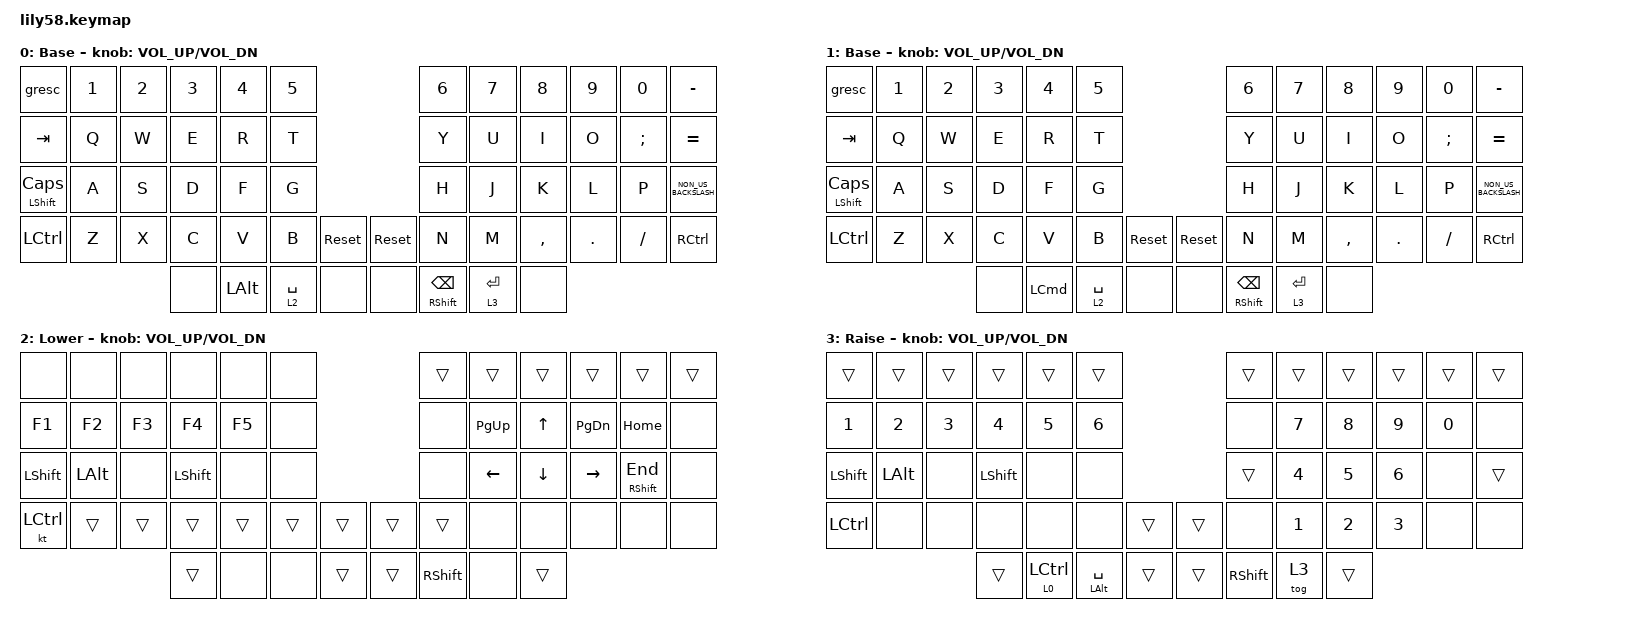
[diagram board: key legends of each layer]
/*
 * Copyright (c) 2020 The ZMK Contributors
 *
 * SPDX-License-Identifier: MIT
 */

#include <behaviors.dtsi>
#include <dt-bindings/zmk/keys.h>

/ {
    combos {
        compatible = "zmk,combos";

        Ko {
            bindings = <&kp CLCK>;
            key-positions = <27 28>;
            timeout-ms = <350>;
        };

        window {
            bindings = <&kp LEFT_WIN>;
            key-positions = <51 52>;
        };

        Enter {
            bindings = <&kp ENTER>;
            key-positions = <52 55>;
        };

        Backspace {
            bindings = <&kp DELETE>;
            key-positions = <21 22>;
        };

        Enter_Right {
            bindings = <&kp ENTER>;
            key-positions = <34 33>;
        };

        Esc {
            bindings = <&kp ESC>;
            key-positions = <13 14>;
        };

        TAB_Left {
            bindings = <&kp TAB>;
            key-positions = <25 26>;
        };

        AltF4 {
            bindings = <&none>;
            key-positions = <50 3>;
        };

        AltTap {
            bindings = <&none>;
            key-positions = <12 51>;
        };

        macWindow {
            bindings = <&tog 1>;
            key-positions = <10 11>;
        };
    };

    behaviors {
        HomeRow_mods: HomeRow_mods {
            compatible = "zmk,behavior-hold-tap";
            label = "HOMEROW_MODS";
            bindings = <&kp>, <&kp>;

            #binding-cells = <2>;
            tapping-term-ms = <200>;
            quick-tap-ms = <130>;
            flavor = "tap-preferred";
        };

        AltF4: AltF4 {
            compatible = "zmk,behavior-mod-morph";
            label = "ALTF4";
            bindings = <&kp R>, <&kp F4>;

            #binding-cells = <0>;
            mods = <(MOD_LALT)>;
            keep-mods = <(MOD_LALT)>;
        };
    };

    keymap {
        compatible = "zmk,keymap";

        BaseLayer {
            // ------------------------------------------------------------------------------------------------------------
            // |  ESC  |  1  |  2  |  3   |  4   |  5   |                   |  6   |  7    |  8    |  9   |   0   |   `   |
            // |  TAB  |  Q  |  W  |  E   |  R   |  T   |                   |  Y   |  U    |  I    |  O   |   P   |   -   |
            // |  CTRL |  A  |  S  |  D   |  F   |  G   |                   |  H   |  J    |  K    |  L   |   ;   |   '   |
            // | SHIFT |  Z  |  X  |  C   |  V   |  B   |   "["  |  |  "]"  |  N   |  M    |  ,    |  .   |   /   | SHIFT |
            //                     | ALT  | GUI  | LOWER|  SPACE |  | ENTER | RAISE| BSPC  | GUI   |

            display-name = "Base";
            bindings = <
&gresc                         &kp N1  &kp N2  &kp N3  &kp N4        &kp N5                                 &kp N6                               &kp N7       &kp N8     &kp N9      &kp N0         &kp MINUS
&kp TAB                        &kp Q   &kp W   &kp E   &kp R         &kp T                                  &kp Y                                &kp U        &kp I      &kp O       &kp SEMICOLON  &kp EQUAL
&HomeRow_mods LEFT_SHIFT CAPS  &kp A   &kp S   &kp D   &kp F         &kp G                                  &kp H                                &kp J        &kp K      &kp L       &kp P          &kp NON_US_BACKSLASH
&kp LCTRL                      &kp Z   &kp X   &kp C   &kp V         &kp B        &sys_reset    &sys_reset  &kp N                                &kp M        &kp COMMA  &kp PERIOD  &kp SLASH      &kp RCTRL
                                               &none   &kp LEFT_ALT  &lt 2 SPACE  &none         &none       &HomeRow_mods RIGHT_SHIFT BACKSPACE  &lt 3 ENTER  &none
            >;

            sensor-bindings = <&inc_dec_kp C_VOL_UP C_VOL_DN>;
        };

        DefaultLayer_Mac {
            display-name = "Base";
            bindings = <
&gresc                         &kp N1  &kp N2  &kp N3  &kp N4            &kp N5                                 &kp N6                               &kp N7       &kp N8     &kp N9      &kp N0         &kp MINUS
&kp TAB                        &kp Q   &kp W   &kp E   &kp R             &kp T                                  &kp Y                                &kp U        &kp I      &kp O       &kp SEMICOLON  &kp EQUAL
&HomeRow_mods LEFT_SHIFT CAPS  &kp A   &kp S   &kp D   &kp F             &kp G                                  &kp H                                &kp J        &kp K      &kp L       &kp P          &kp NON_US_BACKSLASH
&kp LCTRL                      &kp Z   &kp X   &kp C   &kp V             &kp B        &sys_reset    &sys_reset  &kp N                                &kp M        &kp COMMA  &kp PERIOD  &kp SLASH      &kp RCTRL
                                               &none   &kp LEFT_COMMAND  &lt 2 SPACE  &none         &none       &HomeRow_mods RIGHT_SHIFT BACKSPACE  &lt 3 ENTER  &none
            >;

            sensor-bindings = <&inc_dec_kp C_VOL_UP C_VOL_DN>;
        };

        ExtendLayer {
            // ------------------------------------------------------------------------------------------------------------
            // | BTCLR | BT1 | BT2 |  BT3 |  BT4 |  BT5 |                   |      |       |       |      |       |       |
            // |  F1   |  F2 |  F3 |  F4  |  F5  |  F6  |                   |  F7  |  F8   |  F9   |  F10 |  F11  |  F12  |
            // |   `   |  !  |  @  |  #   |  $   |  %   |                   |  ^   |  &    |  *    |  (   |   )   |   ~   |
            // |       |     |     |      |      |      |        |  |       |      |  _    |  +    |  {   |   }   |  "|"  |
            //                     |      |      |      |        |  |       |      |       |       |

            display-name = "Lower";
            bindings = <
&none           &none         &none   &none           &none   &none                     &trans           &trans          &trans          &trans           &trans                         &trans
&kp F1          &kp F2        &kp F3  &kp F4          &kp F5  &none                     &none            &kp PG_UP       &kp UP_ARROW    &kp PAGE_DOWN    &kp HOME                       &none
&kp LEFT_SHIFT  &kp LEFT_ALT  &none   &kp LEFT_SHIFT  &none   &none                     &none            &kp LEFT_ARROW  &kp DOWN_ARROW  &kp RIGHT_ARROW  &HomeRow_mods RIGHT_SHIFT END  &none
&kt LCTRL       &trans        &trans  &trans          &trans  &trans  &trans    &trans  &trans           &none           &none           &none            &none                          &none
                                      &trans          &none   &none   &trans    &trans  &kp RIGHT_SHIFT  &none           &trans
            >;

            sensor-bindings = <&inc_dec_kp C_VOL_UP C_VOL_DN>;
        };

        NumberLayer {
            // ------------------------------------------------------------------------------------------------------------
            // |       |     |     |      |      |      |                   |      |       |       |      |       |       |
            // |   `   |  1  |  2  |  3   |  4   |  5   |                   |  6   |   7   |   8   |  9   |   0   |       |
            // |   F1  |  F2 |  F3 |  F4  |  F5  |  F6  |                   |      |   <-  |   v   |  ^   |  ->   |       |
            // |   F7  |  F8 |  F9 |  F10 |  F11 |  F12 |        |  |       |  +   |   -   |   =   |  [   |   ]   |   \   |
            //                     |      |      |      |        |  |       |      |       |       |

            display-name = "Raise";
            bindings = <
&trans          &trans        &trans        &trans          &trans       &trans                                          &trans           &trans        &trans        &trans        &trans        &trans
&kp NUMBER_1    &kp NUMBER_2  &kp NUMBER_3  &kp NUMBER_4    &kp N5       &kp NUMBER_6                                    &none            &kp N7        &kp N8        &kp NUMBER_9  &kp NUMBER_0  &none
&kp LEFT_SHIFT  &kp LEFT_ALT  &none         &kp LEFT_SHIFT  &none        &none                                           &trans           &kp NUMBER_4  &kp N5        &kp NUMBER_6  &none         &trans
&kp LCTRL       &none         &none         &none           &none        &none                         &trans    &trans  &none            &kp NUMBER_1  &kp NUMBER_2  &kp NUMBER_3  &none         &none
                                            &trans          &lt 0 LCTRL  &HomeRow_mods LEFT_ALT SPACE  &trans    &trans  &kp RIGHT_SHIFT  &tog 3        &trans
            >;

            sensor-bindings = <&inc_dec_kp C_VOL_UP C_VOL_DN>;
        };
    };
};
